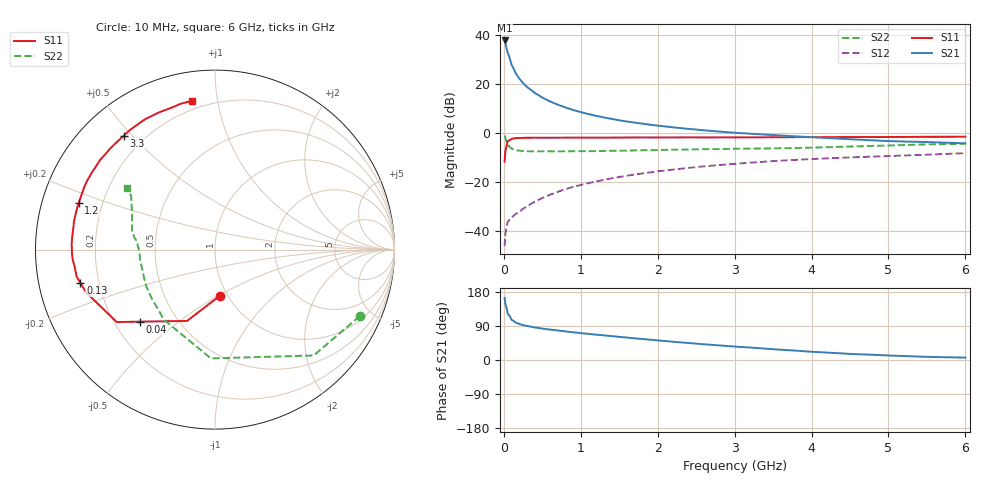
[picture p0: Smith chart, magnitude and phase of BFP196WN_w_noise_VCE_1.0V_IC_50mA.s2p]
! (c) 2017  Infineon Technologies AG, Munich
! Infineon Technologies  Discrete & RF Semiconductors
! BFP196WN
! VCE =  1.0 V,  IC =  50 mA
! Common Emitter S-Parameters:  Jan 2017
# GHz  S  MA  R  50
!  f  S11  S21  S12  S22
! GHz  MAG  ANG  MAG  ANG  MAG  ANG  MAG  ANG
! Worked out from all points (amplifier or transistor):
!   77 points, 10 MHz to 6 GHz, reference 50 ohm
!   highest |S21| = 37.9 dB at 10 MHz (marker M1)
!   |S21| within 3 dB of that: start of sweep to 34.2 MHz
!   unconditionally stable (mu >= 1): 525.1 MHz to 3.24 GHz; 4.997458 GHz to 5.000473 GHz
!   at 130 MHz: K = 0.60, MSG = 30.0 dB, |S12| = -33.9 dB
!   at 2.2 GHz: K = 1.03, MAG = 7.6 dB, |S12| = -15.0 dB
!   at 6 GHz: K = 0.96, MSG = 2.0 dB, |S12| = -8.3 dB
!   lowest NFmin = 1.27 dB at 450 MHz
!   S11 on the Smith chart (normalised r, x): 10 MHz: 0.92, -0.51; 40 MHz: 0.31, -0.37; 130 MHz: 0.13, -0.12; 1.2 GHz: 0.11, +0.16; 3.3 GHz: 0.13, +0.47; 6 GHz: 0.15, +0.85
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0.01  0.2592 -84.2  78.51 163.3  0.0048 76.6  0.8877 -24.7
0.02  0.4267 -111.4  68.24 147.9  0.0087 66.9  0.8065 -47.0
0.04  0.5788 -136.1  51.02 133.1  0.0128 49.7  0.6238 -74.4
0.05  0.6802 -143.6  44.4 121.8  0.0151 44.8  0.6067 -92.2
0.1  0.7571 -161.7  25.02 106.1  0.0183 44.2  0.4832 -126.1
0.13  0.7726 -166.1  20.32 102.6  0.0203 46.4  0.4556 -135.6
0.15  0.7854 -169.0  17.25 99.2  0.0217 47.7  0.4449 -142.5
0.2  0.7883 -173.3  13.05 95.0  0.0239 52.1  0.4347 -151.4
0.25  0.7949 -176.1  10.51 92.0  0.028 53.8  0.4268 -156.9
0.3  0.7968 -178.5  8.786 89.8  0.0315 57.9  0.4218 -161.4
0.4  0.7992 178.0  6.628 85.9  0.0389 62.0  0.4196 -166.5
0.5  0.7989 175.2  5.309 83.0  0.0466 64.9  0.4206 -170.2
0.7  0.7988 170.7  3.801 78.0  0.062 66.8  0.4198 -175.0
0.9  0.8009 166.6  2.959 73.1  0.0782 67.3  0.4229 -177.8
1.1  0.8024 163.0  2.437 69.0  0.094 67.3  0.4247 179.6
1.2  0.8024 161.2  2.243 66.9  0.1018 66.7  0.4253 178.6
2.1  0.809 146.6  1.359 50.0  0.1706 60.8  0.4506 172.0
3.1  0.8112 131.5  0.989 34.2  0.2397 51.8  0.477 166.1
3.3  0.8133 128.6  0.946 31.5  0.2525 49.9  0.4798 164.4
4.1  0.824 117.1  0.803 20.7  0.2972 42.6  0.5049 156.5
5.1  0.828 106.5  0.675 11.2  0.3409 34.8  0.56 147.1
6  0.8391 98.6  0.614 6.3  0.386 28.8  0.5991 145.0
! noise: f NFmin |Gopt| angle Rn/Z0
0.45  1.27  0.53  -177  0.05
0.9  1.39  0.56  -171  0.05
1.9  2.33  0.69  -148  0.16
2.4  3.05  0.7  -140  0.28
